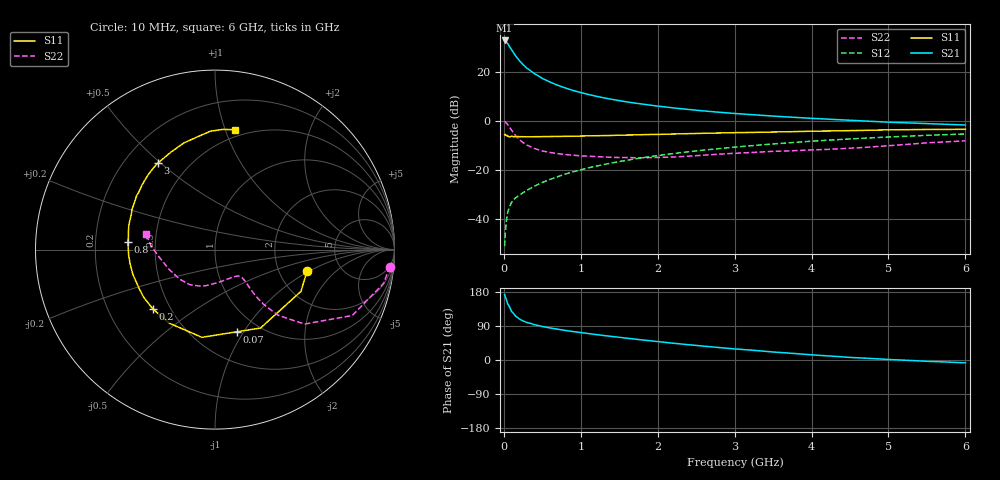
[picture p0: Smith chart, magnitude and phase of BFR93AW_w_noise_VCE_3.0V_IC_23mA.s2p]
! Infineon Technologies  Discrete & RF Semiconductors
! BFR93AW
! VCE =  3.0 V,  IC =  23 mA
! Common Emitter S-Parameters:  Jan 2017
# GHz  S  MA  R  50
!  f  S11  S21  S12  S22
! GHz  MAG  ANG  MAG  ANG  MAG  ANG  MAG  ANG
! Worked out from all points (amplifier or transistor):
!   77 points, 10 MHz to 6 GHz, reference 50 ohm
!   highest |S21| = 32.8 dB at 10 MHz (marker M1)
!   |S21| within 3 dB of that: start of sweep to 83.89 MHz
!   unconditionally stable (mu >= 1): 592.9 MHz to 2.104 GHz
!   at 130 MHz: K = 0.49, MSG = 29.9 dB, |S12| = -32.1 dB
!   at 2.2 GHz: K = 0.99, MSG = 9.3 dB, |S12| = -13.3 dB
!   at 6 GHz: K = 0.89, MSG = 1.8 dB, |S12| = -5.3 dB
!   lowest NFmin = 1.60 dB at 450 MHz
!   S11 on the Smith chart (normalised r, x): 10 MHz: 2.87, -0.95; 70 MHz: 0.79, -0.93; 200 MHz: 0.40, -0.35; 800 MHz: 0.35, +0.04; 3 GHz: 0.34, +0.49; 6 GHz: 0.44, +1.08
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0.01  0.5264 -13.2  43.83 172.9  0.0028 88.5  0.9786 -5.6
0.02  0.5326 -25.9  43.62 166.2  0.0055 85.5  0.9578 -11.4
0.05  0.5052 -59.9  37.98 148.2  0.0138 69.0  0.8486 -25.6
0.07  0.4739 -75.0  33.68 141.5  0.017 64.8  0.7633 -30.4
0.1  0.4942 -98.5  28.39 128.1  0.0219 60.9  0.6485 -39.8
0.15  0.4824 -121.7  21.58 116.2  0.027 56.3  0.5075 -46.1
0.2  0.4788 -136.2  17.09 108.5  0.0305 58.3  0.4193 -48.2
0.25  0.478 -146.2  14.1 103.0  0.0347 58.3  0.3624 -48.7
0.3  0.4752 -153.4  11.92 99.0  0.0385 59.8  0.3214 -48.5
0.4  0.478 -163.5  9.151 92.9  0.0469 63.0  0.2734 -47.4
0.5  0.4796 -170.7  7.389 88.4  0.0557 65.5  0.2451 -46.4
0.6  0.482 -176.2  6.216 84.6  0.0644 66.3  0.2279 -46.1
0.7  0.4834 179.5  5.35 81.3  0.0729 68.0  0.2157 -46.0
0.8  0.4867 175.2  4.705 78.0  0.0827 68.6  0.2071 -46.6
1.1  0.4972 165.3  3.47 69.8  0.1109 68.5  0.1914 -50.8
1.5  0.5134 154.5  2.596 59.9  0.1489 67.2  0.1799 -60.9
2.1  0.5368 140.8  1.93 46.5  0.2067 62.9  0.1819 -82.1
3  0.578 123.5  1.423 29.3  0.2929 55.0  0.2197 -112.2
3.1  0.5804 121.7  1.388 27.8  0.3021 53.9  0.2229 -115.1
4.1  0.6215 104.8  1.112 12.3  0.3954 43.5  0.2599 -144.0
5.1  0.6616 91.1  0.932 0.5  0.4786 32.3  0.3213 -174.8
6  0.6771 80.6  0.828 -7.4  0.5427 22.2  0.3943 167.2
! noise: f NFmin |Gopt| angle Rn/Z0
0.45  1.6  0.15  166  0.15
0.9  1.88  0.24  177  0.16
1.9  2.89  0.48  -138  0.24
2.4  3.53  0.55  -126  0.48
